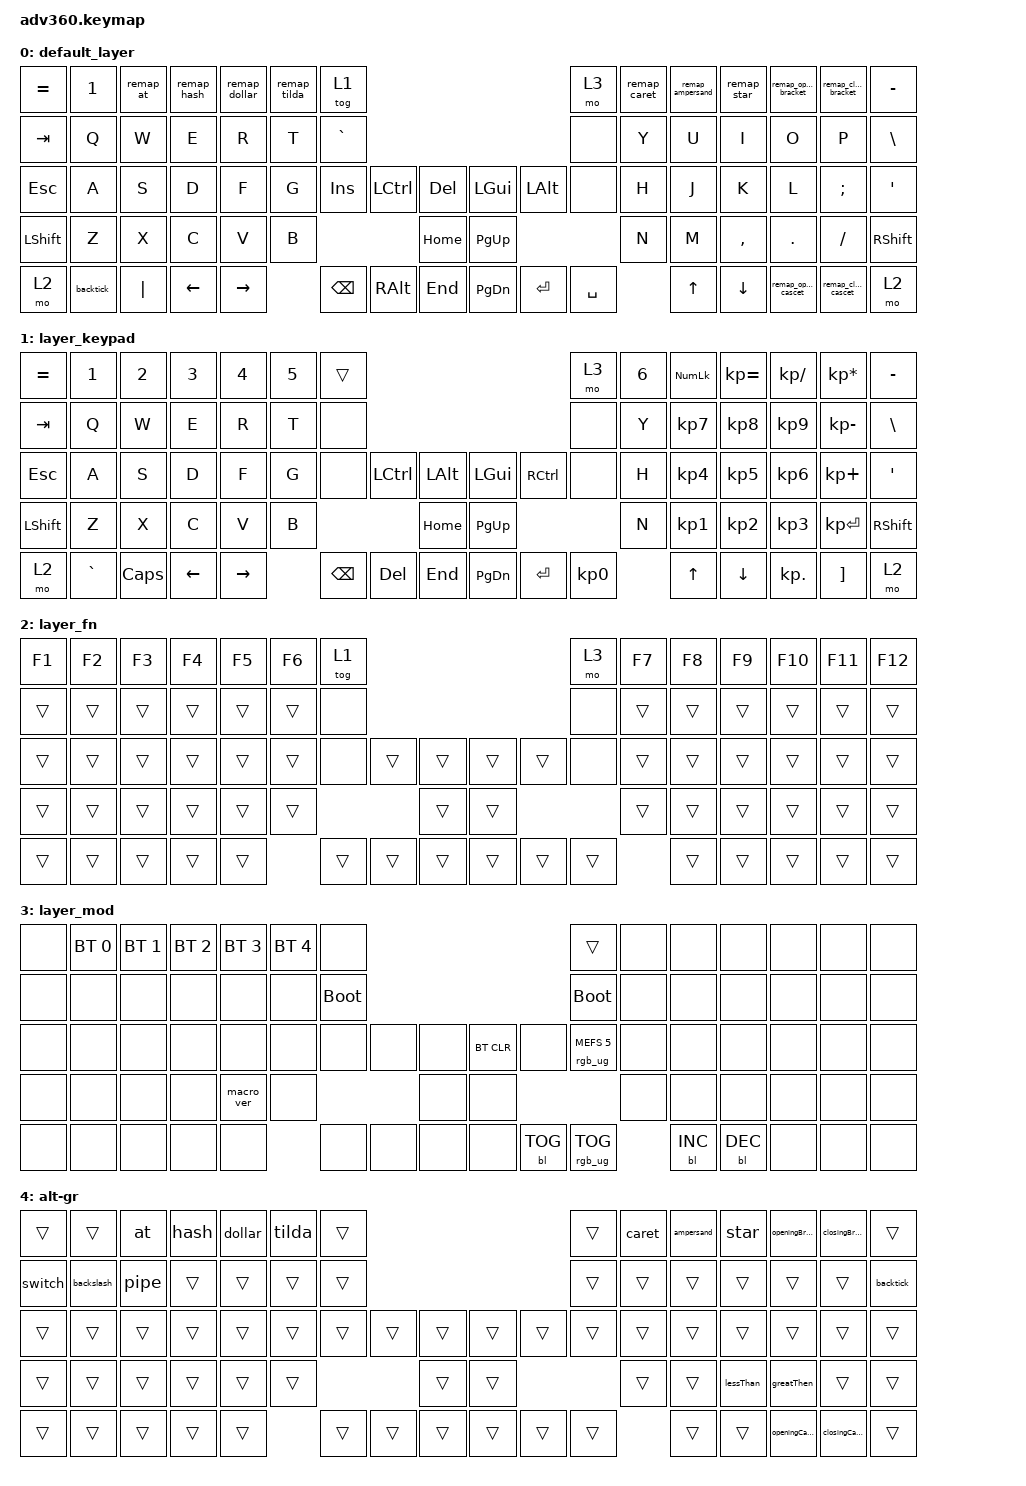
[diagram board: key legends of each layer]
/*
 * Copyright (c) 2020 The ZMK Contributors
 *
 * SPDX-License-Identifier: MIT
 */
/* THIS FILE WAS GENERATED!
 *
 * This file was generated automatically. You may or may not want to
 * edit it directly.
 */

#include <behaviors.dtsi>
#include <dt-bindings/zmk/backlight.h>
#include <dt-bindings/zmk/bt.h>
#include <dt-bindings/zmk/keys.h>
#include <dt-bindings/zmk/rgb.h>

&mt {
};

/ {
    behaviors {
        #include "macros.dtsi"
    #include "version.dtsi"

        hm: homerow_mods {
            compatible = "zmk,behavior-hold-tap";
            label = "HOMEROW_MODS";
            #binding-cells = <2>;
            tapping-term-ms = <200>;
            quick_tap_ms = <175>;
            flavor = "tap-preferred";
            bindings = <&kp>, <&kp>;
        };

        remap_ampersand: remap_ampersand {
            compatible = "zmk,behavior-mod-morph";
            label = "REMAP_AMPERSAND";
            bindings = <&kp NUMBER_7>, <&kp C>;

            #binding-cells = <0>;
            mods = <(MOD_RALT)>;
            keep-mods = <(MOD_RALT)>;
        };

        remap_star: remap_star {
            compatible = "zmk,behavior-mod-morph";
            label = "REMAP_STAR";
            bindings = <&kp NUMBER_8>, <&kp SLASH>;

            #binding-cells = <0>;
            mods = <(MOD_RALT)>;
            keep-mods = <(MOD_RALT)>;
        };

        remap_dollar: remap_dollar {
            compatible = "zmk,behavior-mod-morph";
            label = "REMAP_DOLLAR";
            bindings = <&kp NUMBER_4>, <&kp SEMI>;

            #binding-cells = <0>;
            mods = <(MOD_RALT)>;
            keep-mods = <(MOD_RALT)>;
        };

        remap_tilda: remap_tilda {
            compatible = "zmk,behavior-mod-morph";
            label = "REMAP_TILDA";
            bindings = <&kp NUMBER_5>, <&kp NUMBER_1>;

            #binding-cells = <0>;
            mods = <(MOD_RALT)>;
            keep-mods = <(MOD_RALT)>;
        };

        remap_caret: remap_caret {
            compatible = "zmk,behavior-mod-morph";
            label = "REMAP_CARET";
            bindings = <&kp NUMBER_6>, <&kp NUMBER_3>;

            #binding-cells = <0>;
            mods = <(MOD_RALT)>;
            keep-mods = <(MOD_RALT)>;
        };

        remap_hash: remap_hash {
            compatible = "zmk,behavior-mod-morph";
            label = "REMAP_HASH";
            bindings = <&kp NUMBER_3>, <&kp X>;

            #binding-cells = <0>;
            mods = <(MOD_RALT)>;
            keep-mods = <(MOD_RALT)>;
        };

        remap_at: remap_at {
            compatible = "zmk,behavior-mod-morph";
            label = "REMAP_AT";
            bindings = <&kp NUMBER_2>, <&kp V>;

            #binding-cells = <0>;
            mods = <(MOD_RALT)>;
            keep-mods = <(MOD_RALT)>;
        };

        remap_opening_cascet: remap_opening_cascet {
            compatible = "zmk,behavior-mod-morph";
            label = "REMAP_OPENING_CASCET";
            bindings = <&kp LEFT_BRACKET>, <&kp F>;

            #binding-cells = <0>;
            mods = <(MOD_RALT)>;
            keep-mods = <(MOD_RALT)>;
        };

        remap_closing_cascet: remap_closing_cascet {
            compatible = "zmk,behavior-mod-morph";
            label = "REMAP_CLOSING_CASCET";
            bindings = <&kp RIGHT_BRACKET>, <&kp G>;

            #binding-cells = <0>;
            mods = <(MOD_RALT)>;
            keep-mods = <(MOD_RALT)>;
        };

        remap_opening_bracket: remap_opening_bracket {
            compatible = "zmk,behavior-mod-morph";
            label = "REMAP_OPENING_BRACKET";
            bindings = <&kp NUMBER_9>, <&kp B>;

            #binding-cells = <0>;
            mods = <(MOD_RALT)>;
            keep-mods = <(MOD_RALT)>;
        };

        remap_closing_bracket: remap_closing_bracket {
            compatible = "zmk,behavior-mod-morph";
            label = "REMAP_CLOSING_BRACKET";
            bindings = <&kp NUMBER_0>, <&kp N>;

            #binding-cells = <0>;
            mods = <(MOD_RALT)>;
            keep-mods = <(MOD_RALT)>;
        };
    };

    combos { compatible = "zmk,combos"; };

    macros {
        ampersand: ampersand {
            compatible = "zmk,behavior-macro";
            #binding-cells = <0>;
            bindings = <&kp RA(C)>;
            label = "AMPERSAND";
        };

        star: star {
            compatible = "zmk,behavior-macro";
            #binding-cells = <0>;
            bindings = <&kp RA(SLASH)>;
            label = "STAR";
        };

        dollar: dollar {
            compatible = "zmk,behavior-macro";
            #binding-cells = <0>;
            bindings = <&kp RA(SEMI)>;
            label = "DOLLAR";
        };

        tilda: tilda {
            compatible = "zmk,behavior-macro";
            #binding-cells = <0>;
            bindings = <&kp RA(NUMBER_1)>;
            label = "TILDA";
        };

        caret: caret {
            compatible = "zmk,behavior-macro";
            #binding-cells = <0>;
            bindings = <&kp RA(NUMBER_3) &kp SPACE>;
            label = "CARET";
        };

        at: at {
            compatible = "zmk,behavior-macro";
            #binding-cells = <0>;
            bindings = <&kp RA(V)>;
            label = "AT";
        };

        hash: hash {
            compatible = "zmk,behavior-macro";
            #binding-cells = <0>;
            bindings = <&kp RA(X)>;
            label = "HASH";
        };

        pipe: pipe {
            compatible = "zmk,behavior-macro";
            #binding-cells = <0>;
            bindings = <&kp RA(W)>;
            label = "PIPE";
        };

        backslash: backslash {
            compatible = "zmk,behavior-macro";
            #binding-cells = <0>;
            bindings = <&kp RA(Q)>;
            label = "BACKSLASH";
        };

        openingCascet: openingCascet {
            compatible = "zmk,behavior-macro";
            #binding-cells = <0>;
            bindings = <&kp RA(F)>;
            label = "OPENINGCASCET";
        };

        closingCascet: closingCascet {
            compatible = "zmk,behavior-macro";
            #binding-cells = <0>;
            bindings = <&kp RA(G)>;
            label = "CLOSINGCASCET";
        };

        openingBracket: openingBracket {
            compatible = "zmk,behavior-macro";
            #binding-cells = <0>;
            bindings = <&kp RA(B)>;
            label = "OPENINGBRACKET";
        };

        closingBracket: closingBracket {
            compatible = "zmk,behavior-macro";
            #binding-cells = <0>;
            bindings = <&kp RA(N)>;
            label = "CLOSINGBRACKET";
        };

        backtick: backtick {
            compatible = "zmk,behavior-macro";
            #binding-cells = <0>;
            bindings = <&kp GRAVE>;
            label = "BACKTICK";
        };

        lessThan: lessThan {
            compatible = "zmk,behavior-macro";
            #binding-cells = <0>;
            bindings = <&kp RA(COMMA)>;
            label = "LESSTHAN";
        };

        greatThen: greatThen {
            compatible = "zmk,behavior-macro";
            #binding-cells = <0>;
            bindings = <&kp RA(DOT)>;
            label = "GREATTHEN";
        };

        switch: switch {
            compatible = "zmk,behavior-macro";
            #binding-cells = <0>;
            bindings = <&kp LA(TAB)>;
            label = "SWITCH";
        };
    };

    keymap {
        compatible = "zmk,keymap";

        default_layer {
            bindings = <
&kp EQUAL  &kp N1     &remap_at  &remap_hash  &remap_dollar  &remap_tilda  &tog 1                                                          &mo 3      &remap_caret  &remap_ampersand  &remap_star  &remap_opening_bracket  &remap_closing_bracket  &kp MINUS
&kp TAB    &kp Q      &kp W      &kp E        &kp R          &kp T         &kp GRAVE                                                       &none      &kp Y         &kp U             &kp I        &kp O                   &kp P                   &kp BSLH
&kp ESC    &kp A      &kp S      &kp D        &kp F          &kp G         &kp INSERT  &kp LCTRL  &kp DELETE      &kp LGUI   &kp LEFT_ALT  &none      &kp H         &kp J             &kp K        &kp L                   &kp SEMI                &kp SQT
&kp LSHFT  &kp Z      &kp X      &kp C        &kp V          &kp B                                &kp HOME        &kp PG_UP                           &kp N         &kp M             &kp COMMA    &kp DOT                 &kp FSLH                &kp RSHFT
&mo 2      &backtick  &kp PIPE   &kp LEFT     &kp RIGHT                    &kp BSPC    &kp RALT   &kp END         &kp PG_DN  &kp ENTER     &kp SPACE                &kp UP            &kp DOWN     &remap_opening_cascet   &remap_closing_cascet   &mo 2
            >;
        };

        layer_keypad {
            bindings = <
&kp EQUAL  &kp N1     &kp N2    &kp N3    &kp N4     &kp N5  &trans                                                   &mo 3      &kp N6  &kp KP_NUM  &kp KP_EQUAL  &kp KP_DIVIDE  &kp KP_MULTIPLY  &kp MINUS
&kp TAB    &kp Q      &kp W     &kp E     &kp R      &kp T   &none                                                    &none      &kp Y   &kp KP_N7   &kp KP_N8     &kp KP_N9      &kp KP_MINUS     &kp BSLH
&kp ESC    &kp A      &kp S     &kp D     &kp F      &kp G   &none     &kp LCTRL  &kp LALT      &kp LGUI   &kp RCTRL  &none      &kp H   &kp KP_N4   &kp KP_N5     &kp KP_N6      &kp KP_PLUS      &kp SQT
&kp LSHFT  &kp Z      &kp X     &kp C     &kp V      &kp B                        &kp HOME      &kp PG_UP                        &kp N   &kp KP_N1   &kp KP_N2     &kp KP_N3      &kp KP_ENTER     &kp RSHFT
&mo 2      &kp GRAVE  &kp CAPS  &kp LEFT  &kp RIGHT          &kp BSPC  &kp DEL    &kp END       &kp PG_DN  &kp ENTER  &kp KP_N0          &kp UP      &kp DOWN      &kp KP_DOT     &kp RBKT         &mo 2
            >;
        };

        layer_fn {
            bindings = <
&kp F1  &kp F2  &kp F3  &kp F4  &kp F5  &kp F6  &tog 1                                      &mo 3   &kp F7  &kp F8  &kp F9  &kp F10  &kp F11  &kp F12
&trans  &trans  &trans  &trans  &trans  &trans  &none                                       &none   &trans  &trans  &trans  &trans   &trans   &trans
&trans  &trans  &trans  &trans  &trans  &trans  &none   &trans  &trans      &trans  &trans  &none   &trans  &trans  &trans  &trans   &trans   &trans
&trans  &trans  &trans  &trans  &trans  &trans                  &trans      &trans                  &trans  &trans  &trans  &trans   &trans   &trans
&trans  &trans  &trans  &trans  &trans          &trans  &trans  &trans      &trans  &trans  &trans          &trans  &trans  &trans   &trans   &trans
            >;
        };

        layer_mod {
            bindings = <
&none  &bt BT_SEL 0  &bt BT_SEL 1  &bt BT_SEL 2  &bt BT_SEL 3  &bt BT_SEL 4  &none                                                  &trans                  &none  &none       &none       &none  &none  &none
&none  &none         &none         &none         &none         &none         &bootloader                                            &bootloader             &none  &none       &none       &none  &none  &none
&none  &none         &none         &none         &none         &none         &none        &none  &none      &bt BT_CLR  &none       &rgb_ug RGB_MEFS_CMD 5  &none  &none       &none       &none  &none  &none
&none  &none         &none         &none         &macro_ver    &none                             &none      &none                                           &none  &none       &none       &none  &none  &none
&none  &none         &none         &none         &none                       &none        &none  &none      &none       &bl BL_TOG  &rgb_ug RGB_TOG                &bl BL_INC  &bl BL_DEC  &none  &none  &none
            >;
        };

        alt-gr {
            bindings = <
&trans   &trans      &at     &hash   &dollar  &tilda  &trans                                      &trans  &caret  &ampersand  &star      &openingBracket  &closingBracket  &trans
&switch  &backslash  &pipe   &trans  &trans   &trans  &trans                                      &trans  &trans  &trans      &trans     &trans           &trans           &backtick
&trans   &trans      &trans  &trans  &trans   &trans  &trans  &trans  &trans      &trans  &trans  &trans  &trans  &trans      &trans     &trans           &trans           &trans
&trans   &trans      &trans  &trans  &trans   &trans                  &trans      &trans                  &trans  &trans      &lessThan  &greatThen       &trans           &trans
&trans   &trans      &trans  &trans  &trans           &trans  &trans  &trans      &trans  &trans  &trans          &trans      &trans     &openingCascet   &closingCascet   &trans
            >;
        };
    };

    conditional_layers { compatible = "zmk,conditional-layers"; };
};
